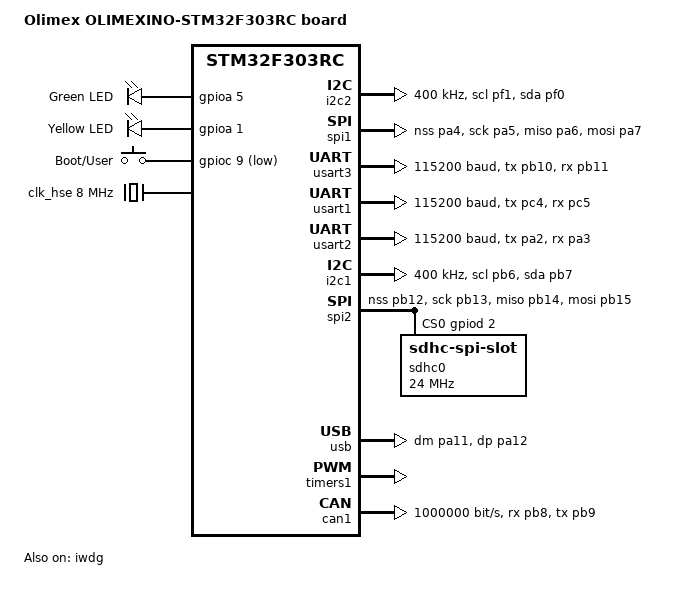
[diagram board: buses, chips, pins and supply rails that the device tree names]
/*
 * Copyright (c) 2022 David Jablonski
 *
 * SPDX-License-Identifier: Apache-2.0
 */

/dts-v1/;
#include <st/f3/stm32f303Xc.dtsi>
#include <st/f3/stm32f303r(b-c)tx-pinctrl.dtsi>

/ {
	model = "Olimex OLIMEXINO-STM32F303RC board";
	compatible = "olimex,olimexino_stm32f303rc", "st,stm32f303rc";

	chosen {
		zephyr,console = &usart2;
		zephyr,shell-uart = &usart2;
		zephyr,sram = &sram0;
		zephyr,flash = &flash0;
		zephyr,canbus = &can1;
	};

	leds {
		compatible = "gpio-leds";
		green_led_1: led_1 {
			gpios = <&gpioa 5 GPIO_ACTIVE_HIGH>;
			label = "Green LED";
		};
		yellow_led_2: led_2 {
			gpios = <&gpioa 1 GPIO_ACTIVE_HIGH>;
			label = "Yellow LED";
		};
	};

	gpio_keys {
		compatible = "gpio-keys";
		user_button: button {
			label = "Boot/User";
			gpios = <&gpioc 9 GPIO_ACTIVE_LOW>;
		};
	};

	aliases {
		led0 = &green_led_1;
		led1 = &yellow_led_2;
		sw0 = &user_button;
		sdhc0 = &sdhc0;
		watchdog0 = &iwdg;
	};
};

&clk_hse {
	clock-frequency = <DT_FREQ_M(8)>;
	status = "okay";
};

&pll {
	prediv = <1>;
	mul = <9>;
	clocks = <&clk_hse>;
	status = "okay";
};

&rcc {
	clocks = <&pll>;
	clock-frequency = <DT_FREQ_M(72)>;
	ahb-prescaler = <1>;
	apb1-prescaler = <2>;
	apb2-prescaler = <1>;
};

uext_i2c: &i2c2 {};
uext_spi: &spi1 {};
uext_serial: &usart3 {};

&usart1 {
	pinctrl-0 = <&usart1_tx_pc4 &usart1_rx_pc5>;
	pinctrl-names = "default";
	current-speed = <115200>;
	status = "okay";
};

&usart2 {
	pinctrl-0 = <&usart2_tx_pa2 &usart2_rx_pa3>;
	pinctrl-names = "default";
	current-speed = <115200>;
	status = "okay";
};

&usart3 {
	pinctrl-0 = <&usart3_tx_pb10 &usart3_rx_pb11>;
	pinctrl-names = "default";
	current-speed = <115200>;
	status = "okay";
};

&i2c1 {
	pinctrl-0 = <&i2c1_scl_pb6 &i2c1_sda_pb7>;
	pinctrl-names = "default";
	status = "okay";
	clock-frequency = <I2C_BITRATE_FAST>;
};

&i2c2 {
	pinctrl-0 = <&i2c2_scl_pf1 &i2c2_sda_pf0>;
	pinctrl-names = "default";
	status = "okay";
	clock-frequency = <I2C_BITRATE_FAST>;
};

&spi1 {
	pinctrl-0 = <&spi1_nss_pa4 &spi1_sck_pa5
			  &spi1_miso_pa6 &spi1_mosi_pa7>;
	pinctrl-names = "default";
	status = "okay";
};

&spi2 {
	pinctrl-0 = <&spi2_nss_pb12 &spi2_sck_pb13
			  &spi2_miso_pb14 &spi2_mosi_pb15>;
	pinctrl-names = "default";
	status = "okay";
	cs-gpios = <&gpiod 2 GPIO_ACTIVE_HIGH>;

	sdhc0: sdhc@0 {
		compatible = "zephyr,sdhc-spi-slot";
		reg = <0>;
		status = "okay";
		spi-max-frequency = <24000000>;
		mmc {
			compatible = "zephyr,sdmmc-disk";
			status = "okay";
		};
	};
};

zephyr_udc0: &usb {
	pinctrl-0 = <&usb_dm_pa11 &usb_dp_pa12>;
	pinctrl-names = "default";
	status = "okay";
	disconnect-gpios = <&gpioc 12 GPIO_ACTIVE_LOW>;
	num-bidir-endpoints = <3>;
	num-in-endpoints = <1>;
	num-out-endpoints = <1>;

	cdc_acm_uart0 {
		compatible = "zephyr,cdc-acm-uart";
		status = "okay";
	};
};

&timers1 {
	st,prescaler = <10000>;
	status = "okay";

	pwm1: pwm {
		status = "okay";
		pinctrl-0 = <&tim1_ch1_pa8>;
		pinctrl-names = "default";
	};
};

&iwdg {
	status = "okay";
};

&can1 {
	pinctrl-0 = <&can_rx_pb8 &can_tx_pb9>;
	pinctrl-names = "default";
	bus-speed = <1000000>;
	// phys = <&transceiver0>;
	status = "okay";
};

&flash0 {

	partitions {
		compatible = "fixed-partitions";
		#address-cells = <1>;
		#size-cells = <1>;

		boot_partition: partition@0 {
			label = "mcuboot";
			reg = <0x00000000 DT_SIZE_K(64)>;
			read-only;
		};

		/* Set 6Kb of storage at the end of the 256Kb of flash */
		storage_partition: partition@3e800 {
			label = "storage";
			reg = <0x0003e800 DT_SIZE_K(6)>;
		};
		slot0_partition: partition@30000 {
			label = "image-0";
			reg = <0x00030000 DT_SIZE_K(58)>;
		};
		slot1_partition: partition@20000 {
			label = "image-1";
			reg = <0x00020000 DT_SIZE_K(64)>;
		};
		scratch_partition: partition@18000 {
			label = "image-scratch";
			reg = <0x00018000 DT_SIZE_K(32)>;
		};
	};
};

